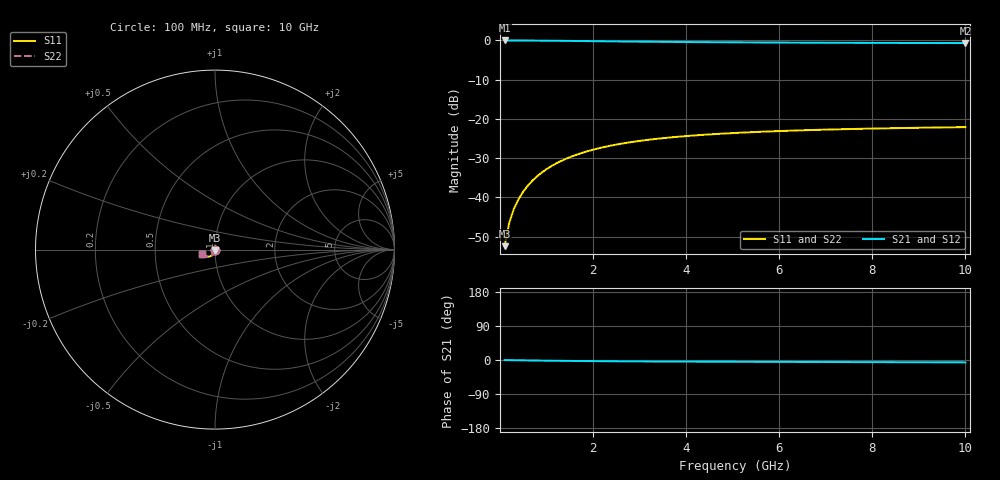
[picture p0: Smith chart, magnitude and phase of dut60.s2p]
! Touchstone file exported from HFSS 2024.1.0
!  File:  C:/UserFiles/LocalFiles/RDL_TSV_Batchsim/temp_TSV1_60_1778749327.aedt
!  Generated:  05:14:28 PM May 14, 2026
!  Design:  TSV1
!  Project:  temp_TSV1_60_1778749327
!  Setup:  Setup1
!  Solution:  Sweep
! Variables:
!  dtsv = 12.48um
!  hbump = 3um
!  htsv = 99.12um
!  lrdl = 252.1521522um
!  p = 40
!  p1 = 44.53um
!  t = 500um
!  trdl = 3um
!  wrdl = 24.89489489um
# GHz S MA R 50.000000
! Terminal data exported
! Port[1] = TSV22_T1
! Port[2] = TSV22_T2
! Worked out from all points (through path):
!   100 points, 100 MHz to 10 GHz, reference 50 ohm
!   highest |S21| = 0.00 dB at 100 MHz (marker M1); lowest = -0.7 dB at 10 GHz (marker M2)
!   lowest |S11| = -52.5 dB at 100 MHz (marker M3), VSWR 1.00, Z = 50 - j0.238 ohm
!   |S11| at or under -10 dB: start of sweep to end of sweep
!   |S22| runs from -52.5 to -22.1 dB; largest |S21 - S12| = 8e-15
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0.1  0.002384 -89.1  0.9998 -0.2  0.9998 -0.2  0.002384 -89.1
! Gamma 0 0 0 0
! Port Impedance 50 0 50 0
0.2  0.004763 -92.1  0.9996 -0.4  0.9996 -0.4  0.004763 -92.1
0.3  0.007135 -94.3  0.9992 -0.6  0.9992 -0.6  0.007135 -94.3
0.4  0.00949 -96.3  0.9987 -0.7  0.9987 -0.7  0.00949 -96.3
0.5  0.01182 -98.1  0.998 -0.9  0.998 -0.9  0.01182 -98.1
0.6  0.01411 -100.0  0.9972 -1.1  0.9972 -1.1  0.01411 -100.0
0.7  0.01637 -101.8  0.9964 -1.3  0.9964 -1.3  0.01637 -101.8
0.8  0.01858 -103.5  0.9954 -1.4  0.9954 -1.4  0.01858 -103.5
0.9  0.02073 -105.2  0.9943 -1.6  0.9943 -1.6  0.02073 -105.2
1.1  0.02488 -108.5  0.9919 -1.9  0.9919 -1.9  0.02488 -108.5
1.4  0.03064 -113.2  0.9879 -2.3  0.9879 -2.3  0.03064 -113.2
1.6  0.03417 -116.1  0.9851 -2.5  0.9851 -2.5  0.03417 -116.1
1.8  0.03744 -118.8  0.9822 -2.8  0.9822 -2.8  0.03744 -118.8
2.1  0.04189 -122.6  0.9778 -3.0  0.9778 -3.0  0.04189 -122.6
2.5  0.04703 -127.1  0.9722 -3.4  0.9722 -3.4  0.04703 -127.1
2.9  0.0514 -131.0  0.9669 -3.7  0.9669 -3.7  0.0514 -131.0
3.4  0.05595 -135.3  0.961 -3.9  0.961 -3.9  0.05595 -135.3
4.2  0.06163 -141.0  0.953 -4.3  0.953 -4.3  0.06163 -141.0
5.1  0.06637 -146.0  0.9459 -4.7  0.9459 -4.7  0.06637 -146.0
6.7  0.07213 -152.8  0.9367 -5.2  0.9367 -5.2  0.07213 -152.8
8.4  0.07602 -158.0  0.9302 -5.8  0.9302 -5.8  0.07602 -158.0
10  0.07849 -161.8  0.926 -6.3  0.926 -6.3  0.07849 -161.8
